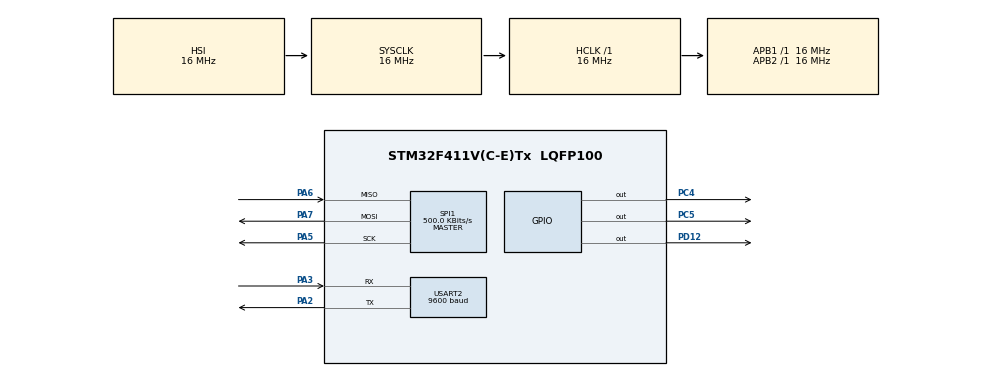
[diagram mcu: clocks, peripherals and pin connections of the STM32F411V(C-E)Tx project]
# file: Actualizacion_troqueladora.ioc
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Mcu.Family=STM32F4
Mcu.Name=STM32F411V(C-E)Tx
Mcu.Package=LQFP100
NVIC.PriorityGroup=NVIC_PRIORITYGROUP_4
NVIC.SPI1_IRQn=true\:0\:0\:false\:false\:true\:true
NVIC.TIM4_IRQn=true\:0\:0\:false\:false\:true\:true
PA2.Mode=Asynchronous
PA2.Signal=USART2_TX
PA3.Mode=Asynchronous
PA3.Signal=USART2_RX
PA5.Mode=Full_Duplex_Master
PA5.Signal=SPI1_SCK
PA6.Mode=Full_Duplex_Master
PA6.Signal=SPI1_MISO
PA7.Mode=Full_Duplex_Master
PA7.Signal=SPI1_MOSI
PC4.Signal=GPIO_Output
PC5.Signal=GPIO_Output
PD12.Signal=GPIO_Output
ProjectManager.HeapSize=0x200
ProjectManager.StackSize=0x400
ProjectManager.TargetToolchain=MDK-ARM V5
RCC.AHBFreq_Value=16000000
RCC.APB1Freq_Value=16000000
RCC.APB1TimFreq_Value=16000000
RCC.APB2Freq_Value=16000000
RCC.APB2TimFreq_Value=16000000
RCC.CortexFreq_Value=16000000
RCC.HCLKFreq_Value=16000000
RCC.HSE_VALUE=25000000
RCC.HSI_VALUE=16000000
RCC.LSE_VALUE=32768
RCC.SYSCLKFreq_VALUE=16000000
RCC.VCOOutputFreq_Value=192000000
SPI1.BaudRatePrescaler=SPI_BAUDRATEPRESCALER_32
SPI1.CalculateBaudRate=500.0 KBits/s
SPI1.Direction=SPI_DIRECTION_2LINES
SPI1.Mode=SPI_MODE_MASTER
SPI1.VirtualType=VM_MASTER
TIM4.Period=15
TIM4.Prescaler=1
USART2.BaudRate=9600
USART2.VirtualMode=VM_ASYNC
VP_TIM4_VS_ClockSourceINT.Mode=Internal
board=Actualizacion_troqueladora

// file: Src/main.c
/**
  ******************************************************************************
  * @file           : main.c
  * @brief          : Main program body
  ******************************************************************************
  ** This notice applies to any and all portions of this file
  * that are not between comment pairs USER CODE BEGIN and
  * USER CODE END. Other portions of this file, whether
  * inserted by the user or by software development tools
  * are owned by their respective copyright owners.
  *
  * COPYRIGHT(c) 2020 STMicroelectronics
  *
  * Redistribution and use in source and binary forms, with or without modification,
  * are permitted provided that the following conditions are met:
  *   1. Redistributions of source code must retain the above copyright notice,
  *      this list of conditions and the following disclaimer.
  *   2. Redistributions in binary form must reproduce the above copyright notice,
  *      this list of conditions and the following disclaimer in the documentation
  *      and/or other materials provided with the distribution.
  *   3. Neither the name of STMicroelectronics nor the names of its contributors
  *      may be used to endorse or promote products derived from this software
  *      without specific prior written permission.
  *
  * THIS SOFTWARE IS PROVIDED BY THE COPYRIGHT HOLDERS AND CONTRIBUTORS "AS IS"
  * AND ANY EXPRESS OR IMPLIED WARRANTIES, INCLUDING, BUT NOT LIMITED TO, THE
  * IMPLIED WARRANTIES OF MERCHANTABILITY AND FITNESS FOR A PARTICULAR PURPOSE ARE
  * DISCLAIMED. IN NO EVENT SHALL THE COPYRIGHT HOLDER OR CONTRIBUTORS BE LIABLE
  * FOR ANY DIRECT, INDIRECT, INCIDENTAL, SPECIAL, EXEMPLARY, OR CONSEQUENTIAL
  * DAMAGES (INCLUDING, BUT NOT LIMITED TO, PROCUREMENT OF SUBSTITUTE GOODS OR
  * SERVICES; LOSS OF USE, DATA, OR PROFITS; OR BUSINESS INTERRUPTION) HOWEVER
  * CAUSED AND ON ANY THEORY OF LIABILITY, WHETHER IN CONTRACT, STRICT LIABILITY,
  * OR TORT (INCLUDING NEGLIGENCE OR OTHERWISE) ARISING IN ANY WAY OUT OF THE USE
  * OF THIS SOFTWARE, EVEN IF ADVISED OF THE POSSIBILITY OF SUCH DAMAGE.
  *
  ******************************************************************************
  */
#include "main.h"
#include "stm32f4xx_hal.h"

SPI_HandleTypeDef hspi1;

TIM_HandleTypeDef htim4;

UART_HandleTypeDef huart2;

/* USER CODE BEGIN PV */
/* Private variables ---------------------------------------------------------*/

#define Menu_0 0
#define Menu_1 1
#define Menu_2 2
#define Menu_3 3
#define Menu_1x 4
#define Menu_2x 5
#define Menu_3x 6
#define TrabajoEC_G 7 //Trabajo en curso - Golpes
#define TrabajoEC_U 8 //Trabajo en curso - Unidades
#define AgrOp_Maestro 9
#define AgrOp_Nuevo 10
#define AgrOp_Nombre 11
#define Err_TagExiste 12
#define Err_NMaestro 13

//-	Seccion teclado	----------------------

int fila =0;
int col =0;
int f_boton_pres =0; // flag boton presionado
int ms_ar=30; //milisegundos anti-rebote
//-----------------------

int flag;
/* USER CODE END PV */

void SystemClock_Config(void);
static void MX_GPIO_Init(void);
static void MX_TIM4_Init(void);
static void MX_SPI1_Init(void);
static void MX_USART2_UART_Init(void);

/* USER CODE BEGIN PFP */
/* Private function prototypes -----------------------------------------------*/
void delayus_block(int n);
void display_escribir(int instancia);

//-	Seccion teclado	----------------------
void get_boton(void);
void display_tecla(void);
//-----------------------

/* Prototipos de funciones del lector de tarjetas RFID */

/* USER CODE END PFP */

int main(void)
{

  /* MCU Configuration----------------------------------------------------------*/

  /* Reset of all peripherals, Initializes the Flash interface and the Systick. */
  HAL_Init();

  /* Configure the system clock */
  SystemClock_Config();

  /* Initialize all configured peripherals */
  MX_GPIO_Init();
  MX_TIM4_Init();
  MX_SPI1_Init();
  MX_USART2_UART_Init();
  /* USER CODE BEGIN 2 */

//-	Seccion teclado	----------------------
	HAL_GPIO_WritePin(GPIOE,0x0F00,GPIO_PIN_SET); //Prende E8, 9, 10 y 11 al mismo tiempo.
//----------------------------------------

	LCD_ini();
	HAL_Delay(3);
	LCD_SetPos(0,0);
	HAL_Delay(3);
	LCD_Clear();
	HAL_Delay(3);
	LCD_CursorOff();
	HAL_Delay(3);

	display_escribir(Menu_0);
	HAL_Delay(2000);
	display_escribir(Menu_1);
	HAL_Delay(2000);
	display_escribir(Menu_2);
	HAL_Delay(2000);
	display_escribir(Menu_3);
	HAL_Delay(2000);
	display_escribir( Menu_1x);
	HAL_Delay(2000);
	display_escribir( Menu_2x);
	HAL_Delay(2000);
	display_escribir( Menu_3x);
	HAL_Delay(2000);
	display_escribir( TrabajoEC_G); //Trabajo en curso - Golpes
	HAL_Delay(2000);
	display_escribir( TrabajoEC_U); //Trabajo en curso - Unidades
	HAL_Delay(2000);
	display_escribir( AgrOp_Maestro);
	HAL_Delay(2000);
	display_escribir( AgrOp_Nuevo);
	HAL_Delay(2000);
	display_escribir( AgrOp_Nombre);
	HAL_Delay(2000);
	display_escribir( Err_TagExiste);
	HAL_Delay(2000);
	display_escribir( Err_NMaestro);

//	HAL_NVIC_EnableIRQ(EXTI15_10_IRQn);

  /* USER CODE END 2 */

  /* Infinite loop */
  /* USER CODE BEGIN WHILE */
  while (1)
  {

	//-------	Seccion teclado -----------
		if(!ms_ar&&f_boton_pres){
			f_boton_pres=0;
			get_boton();
			if(!col) display_tecla();

			HAL_GPIO_WritePin(GPIOE,0x0F00,GPIO_PIN_SET);

		}
	//---------------------------------------

  /* USER CODE END WHILE */

  }

}

void SystemClock_Config(void)
{

  RCC_OscInitTypeDef RCC_OscInitStruct;
  RCC_ClkInitTypeDef RCC_ClkInitStruct;

    /**Configure the main internal regulator output voltage
    */
  __HAL_RCC_PWR_CLK_ENABLE();

  __HAL_PWR_VOLTAGESCALING_CONFIG(PWR_REGULATOR_VOLTAGE_SCALE1);

    /**Initializes the CPU, AHB and APB busses clocks
    */
  RCC_OscInitStruct.OscillatorType = RCC_OSCILLATORTYPE_HSI;
  RCC_OscInitStruct.HSIState = RCC_HSI_ON;
  RCC_OscInitStruct.HSICalibrationValue = 16;
  RCC_OscInitStruct.PLL.PLLState = RCC_PLL_NONE;
  if (HAL_RCC_OscConfig(&RCC_OscInitStruct) != HAL_OK)
  {
    _Error_Handler(__FILE__, __LINE__);
  }

    /**Initializes the CPU, AHB and APB busses clocks
    */
  RCC_ClkInitStruct.ClockType = RCC_CLOCKTYPE_HCLK|RCC_CLOCKTYPE_SYSCLK
                              |RCC_CLOCKTYPE_PCLK1|RCC_CLOCKTYPE_PCLK2;
  RCC_ClkInitStruct.SYSCLKSource = RCC_SYSCLKSOURCE_HSI;
  RCC_ClkInitStruct.AHBCLKDivider = RCC_SYSCLK_DIV1;
  RCC_ClkInitStruct.APB1CLKDivider = RCC_HCLK_DIV1;
  RCC_ClkInitStruct.APB2CLKDivider = RCC_HCLK_DIV1;

  if (HAL_RCC_ClockConfig(&RCC_ClkInitStruct, FLASH_LATENCY_0) != HAL_OK)
  {
    _Error_Handler(__FILE__, __LINE__);
  }

    /**Configure the Systick interrupt time
    */
  HAL_SYSTICK_Config(HAL_RCC_GetHCLKFreq()/1000);

    /**Configure the Systick
    */
  HAL_SYSTICK_CLKSourceConfig(SYSTICK_CLKSOURCE_HCLK);

  /* SysTick_IRQn interrupt configuration */
  HAL_NVIC_SetPriority(SysTick_IRQn, 0, 0);
}

/* SPI1 init function */
static void MX_SPI1_Init(void)
{

  /* SPI1 parameter configuration*/
  hspi1.Instance = SPI1;
  hspi1.Init.Mode = SPI_MODE_MASTER;
  hspi1.Init.Direction = SPI_DIRECTION_2LINES;
  hspi1.Init.DataSize = SPI_DATASIZE_8BIT;
  hspi1.Init.CLKPolarity = SPI_POLARITY_LOW;
  hspi1.Init.CLKPhase = SPI_PHASE_1EDGE;
  hspi1.Init.NSS = SPI_NSS_SOFT;
  hspi1.Init.BaudRatePrescaler = SPI_BAUDRATEPRESCALER_32;
  hspi1.Init.FirstBit = SPI_FIRSTBIT_MSB;
  hspi1.Init.TIMode = SPI_TIMODE_DISABLE;
  hspi1.Init.CRCCalculation = SPI_CRCCALCULATION_DISABLE;
  hspi1.Init.CRCPolynomial = 10;
  if (HAL_SPI_Init(&hspi1) != HAL_OK)
  {
    _Error_Handler(__FILE__, __LINE__);
  }

}

/* TIM4 init function */
static void MX_TIM4_Init(void)
{

  TIM_ClockConfigTypeDef sClockSourceConfig;
  TIM_MasterConfigTypeDef sMasterConfig;

  htim4.Instance = TIM4;
  htim4.Init.Prescaler = 1;
  htim4.Init.CounterMode = TIM_COUNTERMODE_UP;
  htim4.Init.Period = 15;
  htim4.Init.ClockDivision = TIM_CLOCKDIVISION_DIV1;
  if (HAL_TIM_Base_Init(&htim4) != HAL_OK)
  {
    _Error_Handler(__FILE__, __LINE__);
  }

  sClockSourceConfig.ClockSource = TIM_CLOCKSOURCE_INTERNAL;
  if (HAL_TIM_ConfigClockSource(&htim4, &sClockSourceConfig) != HAL_OK)
  {
    _Error_Handler(__FILE__, __LINE__);
  }

  sMasterConfig.MasterOutputTrigger = TIM_TRGO_RESET;
  sMasterConfig.MasterSlaveMode = TIM_MASTERSLAVEMODE_DISABLE;
  if (HAL_TIMEx_MasterConfigSynchronization(&htim4, &sMasterConfig) != HAL_OK)
  {
    _Error_Handler(__FILE__, __LINE__);
  }

}

/* USART2 init function */
static void MX_USART2_UART_Init(void)
{

  huart2.Instance = USART2;
  huart2.Init.BaudRate = 9600;
  huart2.Init.WordLength = UART_WORDLENGTH_8B;
  huart2.Init.StopBits = UART_STOPBITS_1;
  huart2.Init.Parity = UART_PARITY_NONE;
  huart2.Init.Mode = UART_MODE_TX_RX;
  huart2.Init.HwFlowCtl = UART_HWCONTROL_NONE;
  huart2.Init.OverSampling = UART_OVERSAMPLING_16;
  if (HAL_UART_Init(&huart2) != HAL_OK)
  {
    _Error_Handler(__FILE__, __LINE__);
  }

}

/** Configure pins as
        * Analog
        * Input
        * Output
        * EVENT_OUT
        * EXTI
*/
static void MX_GPIO_Init(void)
{

  GPIO_InitTypeDef GPIO_InitStruct;

  /* GPIO Ports Clock Enable */
  __HAL_RCC_GPIOA_CLK_ENABLE();
  __HAL_RCC_GPIOC_CLK_ENABLE();
  __HAL_RCC_GPIOD_CLK_ENABLE();

  /*Configure GPIO pin Output Level */
  HAL_GPIO_WritePin(GPIOC, GPIO_PIN_4|GPIO_PIN_5, GPIO_PIN_RESET);

  /*Configure GPIO pin Output Level */
  HAL_GPIO_WritePin(GPIOD, GPIO_PIN_12, GPIO_PIN_RESET);

  /*Configure GPIO pins : PC4 PC5 */
  GPIO_InitStruct.Pin = GPIO_PIN_4|GPIO_PIN_5;
  GPIO_InitStruct.Mode = GPIO_MODE_OUTPUT_PP;
  GPIO_InitStruct.Pull = GPIO_NOPULL;
  GPIO_InitStruct.Speed = GPIO_SPEED_FREQ_LOW;
  HAL_GPIO_Init(GPIOC, &GPIO_InitStruct);

  /*Configure GPIO pin : PD12 */
  GPIO_InitStruct.Pin = GPIO_PIN_12;
  GPIO_InitStruct.Mode = GPIO_MODE_OUTPUT_PP;
  GPIO_InitStruct.Pull = GPIO_NOPULL;
  GPIO_InitStruct.Speed = GPIO_SPEED_FREQ_LOW;
  HAL_GPIO_Init(GPIOD, &GPIO_InitStruct);

}

/* USER CODE BEGIN 4 */
void HAL_TIM_PeriodElapsedCallback(TIM_HandleTypeDef *htim){
	HAL_TIM_Base_Stop_IT(&htim4);
	flag=1;
	HAL_GPIO_TogglePin(GPIOD, GPIO_PIN_12);
}

void delayus_block(int n){
	if (n !=0) {
		flag = 0;
		htim4.Init.Period = (16*n);
		if (HAL_TIM_Base_Init(&htim4) != HAL_OK)
		{
			_Error_Handler(__FILE__, __LINE__);
		}
		HAL_TIM_Base_Start_IT(&htim4);
		while(flag == 0) {
		}
	}
}

void display_escribir(int instancia){
	char linea1[16];
	char linea2[16];

	switch(instancia){
		case 0: sprintf(linea1,"0.INICIO");
						sprintf(linea2,"");
			break;
		case 1: sprintf(linea1,"1.OPERARIO");
						sprintf(linea2,"  ID TAG");
			break;
		case 2: sprintf(linea1,"2.TOTALES");
						sprintf(linea2,"");
			break;
		case 3: sprintf(linea1,"3.PRODUCTIVIDAD");
						sprintf(linea2,"");
			break;
		case 4: sprintf(linea1,"1.1.ROBERTO");
						sprintf(linea2,"123456789ABCDEF0");
			break;
		case 5: sprintf(linea1,"2.1.TOT GOLPES");
						sprintf(linea2,"125643");
			break;
		case 6: sprintf(linea1,"3.1.ROBERTO");
						sprintf(linea2,"     75%%");
			break;
		case 7: sprintf(linea1,"TRABAJO EN CURSO");
						sprintf(linea2,"GOLPES: 1564");
			break;
		case 8: sprintf(linea1,"TRABAJO EN CURSO");
						sprintf(linea2,"UNIDADES: 1532");
			break;
		case 9: sprintf(linea1,"AGREGAR OPERARIO");
						sprintf(linea2,"PASE TAG MAESTRO");
			break;
		case 10:sprintf(linea1,"AGREGAR OPERARIO");
						sprintf(linea2,"PASE TAG NUEVO");
			break;
		case 11:sprintf(linea1,"AGREGAR OPERARIO");
						sprintf(linea2,"NOMBRE: AAAAAAAA");
			break;
		case 12:sprintf(linea1,"AGREGAR OPERARIO");
						sprintf(linea2,"ERROR TAG EXISTE");
			break;
		case 13:sprintf(linea1,"AGREGAR OPERARIO");
						sprintf(linea2,"ERROR NO MAESTRO");
			break;
		}
	LCD_Clear();
	LCD_SetPos(0,0);
	LCD_String(linea1);
	LCD_SetPos(0,1);
	LCD_String(linea2);
}

//------------ Seccion teclado --------------------
void HAL_GPIO_EXTI_Callback (uint16_t GPIO_Pin){
	fila=GPIO_Pin;
	ms_ar=30;
	f_boton_pres=1;
}

void HAL_SYSTICK_Callback(void)
{
	if (f_boton_pres==1) ms_ar--;
}

void get_boton(void){

	if (HAL_GPIO_ReadPin(GPIOE,fila)==GPIO_PIN_SET){
		HAL_GPIO_WritePin(GPIOE,GPIO_PIN_8,GPIO_PIN_RESET);
		if (HAL_GPIO_ReadPin(GPIOE,fila)==GPIO_PIN_SET){
			HAL_GPIO_WritePin(GPIOE,GPIO_PIN_9,GPIO_PIN_RESET);
			if (HAL_GPIO_ReadPin(GPIOE,fila)==GPIO_PIN_SET){
				HAL_GPIO_WritePin(GPIOE,GPIO_PIN_10,GPIO_PIN_RESET);
				if (HAL_GPIO_ReadPin(GPIOE,fila)==GPIO_PIN_SET){
					col=4;
				}else col=3;
			}else col=2;
		}else col=1;
	} else col=0;

}

void display_tecla(void){
	char linea1[16];

	switch (fila){
		case 0x0100:
			switch(col){
				case 1: sprintf(linea1,"1");
				break;
				case 2:	sprintf(linea1,"2");
				break;
				case 3: sprintf(linea1,"3");
				break;
				case 4: sprintf(linea1,"A");
				break;
			}
		break;
		case 0x0200:
			switch(col){
				case 1: sprintf(linea1,"4");
				break;
				case 2:	sprintf(linea1,"5");
				break;
				case 3: sprintf(linea1,"6");
				break;
				case 4: sprintf(linea1,"B");
				break;
			}
		break;
		case 0x0400:
			switch(col){
				case 1: sprintf(linea1,"7");
				break;
				case 2:	sprintf(linea1,"8");
				break;
				case 3: sprintf(linea1,"9");
				break;
				case 4: sprintf(linea1,"C");
				break;
			}
		break;
		case 0x0800:
			switch(col){
				case 1: sprintf(linea1,"*");
				break;
				case 2:	sprintf(linea1,"0");
				break;
				case 3: sprintf(linea1,"#");
				break;
				case 4: sprintf(linea1,"D");
				break;
			}
		break;
	}
	col=0;

	LCD_Clear();
	LCD_SetPos(0,0);
	LCD_String(linea1);
}

//-------------------------------------------------

/* USER CODE END 4 */

void _Error_Handler(char *file, int line)
{
  while(1)
  {
  }
}

/************************ (C) COPYRIGHT STMicroelectronics *****END OF FILE****/
